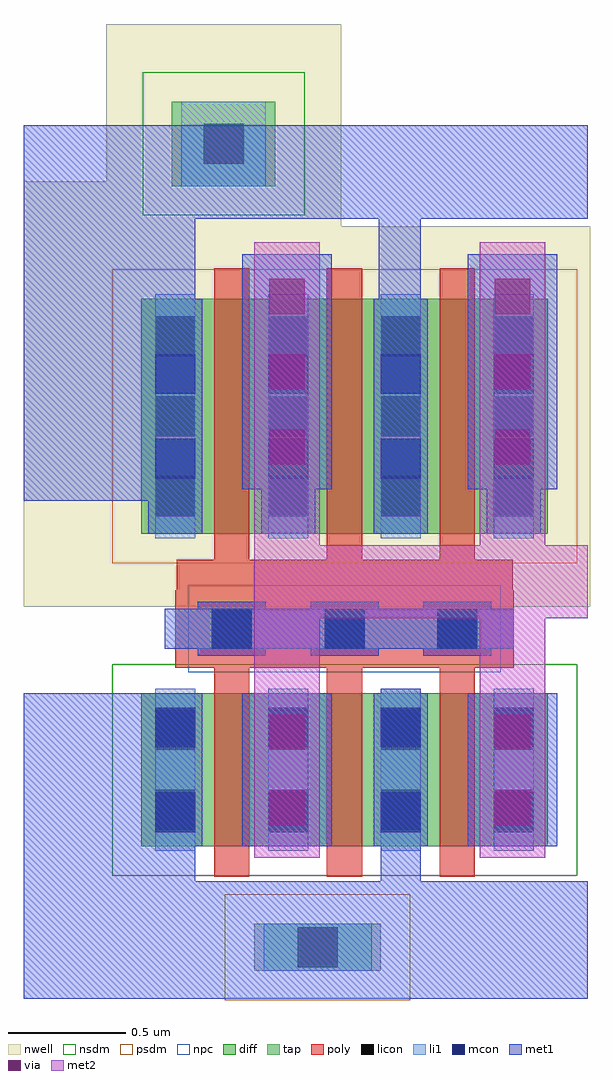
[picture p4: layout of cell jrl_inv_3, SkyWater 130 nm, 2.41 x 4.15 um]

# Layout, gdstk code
import gdstk
lib = gdstk.Library(unit=1e-6, precision=1e-09)
def R(c, l, rs):  # rectangles x0, y0, x1, y1
    for r in rs: c.add(gdstk.rectangle(r[:2], r[2:], *l))
def A(c, l, x, y, w, h, nx, ny, dx, dy):  # array of equal rectangles
    R(c, l, [(x+i*dx, y+j*dy, x+i*dx+w, y+j*dy+h) for i in range(nx) for j in range(ny)])
nwell = (64, 20)
diff = (65, 20)
tap = (65, 44)
poly = (66, 20)
licon = (66, 44)
li1 = (67, 20)
mcon = (67, 44)
met1 = (68, 20)
via = (68, 44)
met2 = (69, 20)
nsdm = (93, 44)
psdm = (94, 20)
npc = (95, 20)

jrl_nwell_sub_contact = lib.new_cell('jrl_nwell_sub_contact')
R(jrl_nwell_sub_contact, nwell, [(0,0,1,0.87)])
R(jrl_nwell_sub_contact, tap, [(0.28,0.18,0.72,0.54)])
R(jrl_nwell_sub_contact, licon, [(0.415,0.275,0.585,0.445)])
R(jrl_nwell_sub_contact, li1, [(0.32,0.18,0.68,0.54)])
R(jrl_nwell_sub_contact, nsdm, [(0.155,0.055,0.845,0.665)])

sky130_fd_pr__nfet_01v8_ = lib.new_cell('sky130_fd_pr__nfet_01v8_6NUF8A')
R(sky130_fd_pr__nfet_01v8_, diff, [(-0.865,-0.48,0.865,0.17)])
A(sky130_fd_pr__nfet_01v8_, poly, -0.555, -0.61, 0.15, 0.89, 3, 1, 0.48, 0)
R(sky130_fd_pr__nfet_01v8_, poly, [(-0.72,0.28,0.72,0.61)])
A(sky130_fd_pr__nfet_01v8_, licon, -0.805, -0.41, 0.17, 0.17, 4, 2, 0.48, 0.34)
A(sky130_fd_pr__nfet_01v8_, licon, -0.565, 0.36, 0.17, 0.17, 3, 1, 0.48, 0)
A(sky130_fd_pr__nfet_01v8_, li1, -0.805, -0.5, 0.17, 0.69, 4, 1, 0.48, 0)
R(sky130_fd_pr__nfet_01v8_, li1, [(-0.72,0.36,0.72,0.53)])
A(sky130_fd_pr__nfet_01v8_, mcon, -0.805, -0.42, 0.17, 0.17, 4, 2, 0.48, 0.36)
A(sky130_fd_pr__nfet_01v8_, mcon, -0.565, 0.36, 0.17, 0.17, 3, 1, 0.48, 0)
A(sky130_fd_pr__nfet_01v8_, met1, -0.835, -0.48, 0.23, 0.65, 4, 1, 0.48, 0)
A(sky130_fd_pr__nfet_01v8_, met1, -0.625, 0.33, 0.29, 0.03, 3, 2, 0.48, 0.2)
R(sky130_fd_pr__nfet_01v8_, met1, [(-0.72,0.36,0.72,0.53)])
R(sky130_fd_pr__nfet_01v8_, nsdm, [(-0.99,-0.605,0.99,0.295)])
R(sky130_fd_pr__nfet_01v8_, npc, [(-0.665,0.26,0.665,0.63)])
sky130_fd_pr__nfet_01v8_.add(gdstk.Label('S2', (0.72,-0.155), layer=67, texttype=5))
sky130_fd_pr__nfet_01v8_.add(gdstk.Label('D2', (0.24,-0.155), layer=67, texttype=5))
sky130_fd_pr__nfet_01v8_.add(gdstk.Label('S1', (-0.24,-0.155), layer=67, texttype=5))
sky130_fd_pr__nfet_01v8_.add(gdstk.Label('G', (-0.48,0.445), layer=67, texttype=5))
sky130_fd_pr__nfet_01v8_.add(gdstk.Label('G', (0,0.445), layer=67, texttype=5))
sky130_fd_pr__nfet_01v8_.add(gdstk.Label('G', (0.48,0.445), layer=67, texttype=5))
sky130_fd_pr__nfet_01v8_.add(gdstk.Label('D0', (-0.72,-0.155), layer=67, texttype=5))

sky130_fd_pr__pfet_01v8_ = lib.new_cell('sky130_fd_pr__pfet_01v8_LLV8YJ')
R(sky130_fd_pr__pfet_01v8_, nwell, [(-1.045,-0.81,1.045,0.81)])
R(sky130_fd_pr__pfet_01v8_, diff, [(-0.865,-0.5,0.865,0.5)])
A(sky130_fd_pr__pfet_01v8_, poly, -0.555, -0.63, 0.15, 1.26, 3, 1, 0.48, 0)
A(sky130_fd_pr__pfet_01v8_, licon, -0.805, -0.425, 0.17, 0.17, 4, 3, 0.48, 0.34)
A(sky130_fd_pr__pfet_01v8_, li1, -0.805, -0.52, 0.17, 1.04, 4, 1, 0.48, 0)
A(sky130_fd_pr__pfet_01v8_, mcon, -0.805, -0.265, 0.17, 0.17, 4, 2, 0.48, 0.36)
A(sky130_fd_pr__pfet_01v8_, met1, -0.835, -0.5, 0.23, 1, 4, 1, 0.48, 0)
R(sky130_fd_pr__pfet_01v8_, psdm, [(-0.99,-0.625,0.99,0.625)])
sky130_fd_pr__pfet_01v8_.add(gdstk.Label('S2', (0.72,0), layer=67, texttype=5))
sky130_fd_pr__pfet_01v8_.add(gdstk.Label('D2', (0.24,0), layer=67, texttype=5))
sky130_fd_pr__pfet_01v8_.add(gdstk.Label('S1', (-0.24,0), layer=67, texttype=5))
sky130_fd_pr__pfet_01v8_.add(gdstk.Label('D0', (-0.72,0), layer=67, texttype=5))

jrl_inv_3 = lib.new_cell('jrl_inv_3')
R(jrl_inv_3, nwell, [(-0.5,1.15,-0.14,2.96)])
R(jrl_inv_3, tap, [(0.48,-0.4,1.02,-0.2)])
R(jrl_inv_3, poly, [(0.15,1.18,1.58,1.35)])
R(jrl_inv_3, licon, [(0.665,-0.385,0.835,-0.215)])
R(jrl_inv_3, li1, [(0.52,-0.4,0.98,-0.2), (0.06,0.19,0.23,0.72)])
R(jrl_inv_3, mcon, [(0.06,0.19,0.23,0.36), (0.06,0.55,0.23,0.72)])
R(jrl_inv_3, met1, [(-0.5,-0.52,1.9,-0.02), (-0.5,-0.02,0.23,0.78), (1.02,-0.02,1.19,0.8), (0.43,0.13,0.81,0.78), (1.39,0.13,1.77,0.78), (0.1,0.97,1.42,1.14), (-0.5,1.6,0.23,2.8), (1.01,1.63,1.19,2.8), (0.43,1.65,0.81,2.65), (1.39,1.65,1.77,2.65), (-0.5,2.8,1.9,3.2)])
A(jrl_inv_3, via, 0.545, 1.755, 0.15, 0.15, 1, 3, 0, 0.32)
A(jrl_inv_3, via, 1.505, 1.755, 0.15, 0.15, 1, 3, 0, 0.32)
R(jrl_inv_3, via, [(0.545,0.22,0.695,0.37), (1.505,0.22,1.655,0.37), (0.545,0.54,0.695,0.69), (1.505,0.54,1.655,0.69)])
R(jrl_inv_3, met2, [(0.48,0.08,0.76,1.1), (1.44,0.08,1.72,1.1), (0.48,1.1,1.9,1.41), (0.48,1.41,0.76,2.7), (1.44,1.41,1.72,2.7)])
R(jrl_inv_3, psdm, [(0.355,-0.525,1.145,-0.075)])
jrl_inv_3.add(gdstk.Reference(jrl_nwell_sub_contact, (-0.15,2.76)))
jrl_inv_3.add(gdstk.Reference(sky130_fd_pr__nfet_01v8_, (0.865,0.61)))
jrl_inv_3.add(gdstk.Reference(sky130_fd_pr__pfet_01v8_, (0.865,1.96)))

lib.write_gds('jrl_inv_3.gds')
